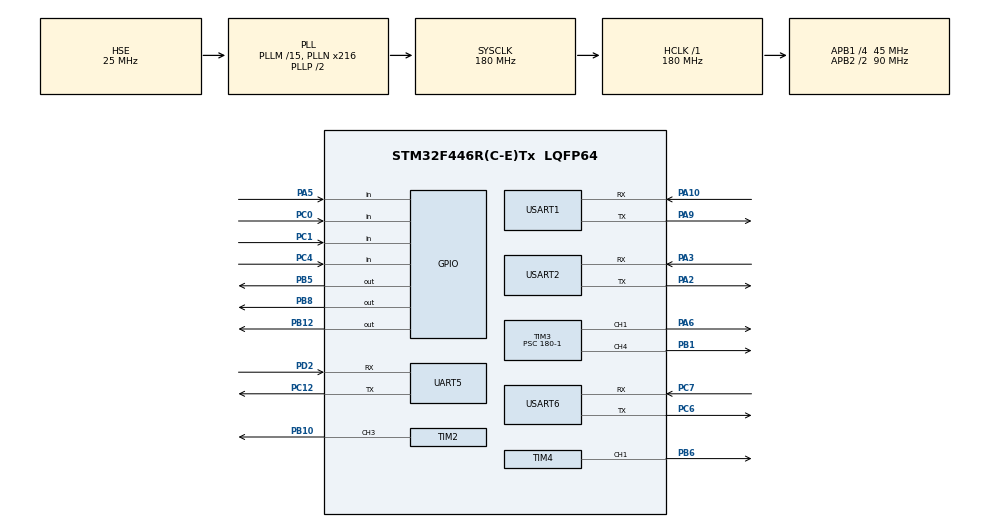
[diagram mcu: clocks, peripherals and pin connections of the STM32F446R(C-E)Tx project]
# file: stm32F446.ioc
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Dma.Request0=USART2_RX
Dma.Request1=UART5_RX
Dma.Request2=USART1_RX
Dma.UART5_RX.1.Direction=DMA_PERIPH_TO_MEMORY
Dma.UART5_RX.1.FIFOMode=DMA_FIFOMODE_DISABLE
Dma.UART5_RX.1.Instance=DMA1_Stream0
Dma.UART5_RX.1.MemDataAlignment=DMA_MDATAALIGN_BYTE
Dma.UART5_RX.1.MemInc=DMA_MINC_ENABLE
Dma.UART5_RX.1.Mode=DMA_CIRCULAR
Dma.UART5_RX.1.PeriphDataAlignment=DMA_PDATAALIGN_BYTE
Dma.UART5_RX.1.PeriphInc=DMA_PINC_DISABLE
Dma.UART5_RX.1.Priority=DMA_PRIORITY_VERY_HIGH
Dma.USART1_RX.2.Direction=DMA_PERIPH_TO_MEMORY
Dma.USART1_RX.2.FIFOMode=DMA_FIFOMODE_DISABLE
Dma.USART1_RX.2.Instance=DMA2_Stream2
Dma.USART1_RX.2.MemDataAlignment=DMA_MDATAALIGN_BYTE
Dma.USART1_RX.2.MemInc=DMA_MINC_ENABLE
Dma.USART1_RX.2.Mode=DMA_CIRCULAR
Dma.USART1_RX.2.PeriphDataAlignment=DMA_PDATAALIGN_BYTE
Dma.USART1_RX.2.PeriphInc=DMA_PINC_DISABLE
Dma.USART1_RX.2.Priority=DMA_PRIORITY_VERY_HIGH
Dma.USART2_RX.0.Direction=DMA_PERIPH_TO_MEMORY
Dma.USART2_RX.0.FIFOMode=DMA_FIFOMODE_DISABLE
Dma.USART2_RX.0.Instance=DMA1_Stream5
Dma.USART2_RX.0.MemDataAlignment=DMA_MDATAALIGN_BYTE
Dma.USART2_RX.0.MemInc=DMA_MINC_ENABLE
Dma.USART2_RX.0.Mode=DMA_CIRCULAR
Dma.USART2_RX.0.PeriphDataAlignment=DMA_PDATAALIGN_BYTE
Dma.USART2_RX.0.PeriphInc=DMA_PINC_DISABLE
Dma.USART2_RX.0.Priority=DMA_PRIORITY_VERY_HIGH
FREERTOS.Tasks01=defaultTask,0,128,StartDefaultTask,Default,NULL,Dynamic,NULL,NULL;vision,0,128,vision_tesk,Default,NULL,Dynamic,NULL,NULL;screen,0,128,screen_tesk,Default,NULL,Dynamic,NULL,NULL;motor_control,0,128,motor_control_tesk,Default,NULL,Dynamic,NULL,NULL
Mcu.Family=STM32F4
Mcu.Name=STM32F446R(C-E)Tx
Mcu.Package=LQFP64
NVIC.DMA1_Stream0_IRQn=true\:5\:0\:false\:false\:true\:true\:false\:true\:true
NVIC.DMA1_Stream5_IRQn=true\:5\:0\:false\:false\:true\:true\:false\:true\:true
NVIC.DMA2_Stream2_IRQn=true\:5\:0\:false\:false\:true\:true\:false\:true\:true
NVIC.PriorityGroup=NVIC_PRIORITYGROUP_4
NVIC.TIM3_IRQn=true\:6\:0\:true\:false\:true\:true\:true\:true\:true
NVIC.TIM8_TRG_COM_TIM14_IRQn=true\:15\:0\:false\:false\:true\:false\:false\:true\:true
NVIC.TimeBase=TIM8_TRG_COM_TIM14_IRQn
NVIC.TimeBaseIP=TIM14
NVIC.UART5_IRQn=true\:6\:0\:true\:false\:true\:true\:true\:true\:true
NVIC.USART1_IRQn=true\:6\:0\:true\:false\:true\:true\:true\:true\:true
NVIC.USART2_IRQn=true\:6\:0\:true\:false\:true\:true\:true\:true\:true
NVIC.USART6_IRQn=true\:7\:0\:true\:false\:true\:true\:true\:true\:true
PA10.Mode=Asynchronous
PA10.Signal=USART1_RX
PA13.Mode=Serial_Wire
PA13.Signal=SYS_JTMS-SWDIO
PA14.Mode=Serial_Wire
PA14.Signal=SYS_JTCK-SWCLK
PA2.Mode=Asynchronous
PA2.Signal=USART2_TX
PA3.Mode=Asynchronous
PA3.Signal=USART2_RX
PA5.GPIO_PuPd=GPIO_PULLUP
PA5.Signal=GPIO_Input
PA6.Signal=S_TIM3_CH1
PA9.Mode=Asynchronous
PA9.Signal=USART1_TX
PB1.Signal=S_TIM3_CH4
PB10.Signal=S_TIM2_CH3
PB12.GPIO_PuPd=GPIO_NOPULL
PB12.Signal=GPIO_Output
PB5.Signal=GPIO_Output
PB6.Signal=S_TIM4_CH1
PB8.Signal=GPIO_Output
PC0.GPIO_PuPd=GPIO_PULLUP
PC0.Signal=GPIO_Input
PC1.GPIO_PuPd=GPIO_PULLUP
PC1.Signal=GPIO_Input
PC12.Mode=Asynchronous
PC12.Signal=UART5_TX
PC4.GPIO_PuPd=GPIO_PULLUP
PC4.Signal=GPIO_Input
PC6.Mode=Asynchronous
PC6.Signal=USART6_TX
PC7.Mode=Asynchronous
PC7.Signal=USART6_RX
PD2.Mode=Asynchronous
PD2.Signal=UART5_RX
PH0-OSC_IN.Mode=HSE-External-Oscillator
PH0-OSC_IN.Signal=RCC_OSC_IN
PH1-OSC_OUT.Mode=HSE-External-Oscillator
PH1-OSC_OUT.Signal=RCC_OSC_OUT
ProjectManager.HeapSize=0x200
ProjectManager.StackSize=0x400
ProjectManager.TargetToolchain=MDK-ARM V5.27
RCC.AHBFreq_Value=180000000
RCC.APB1CLKDivider=RCC_HCLK_DIV4
RCC.APB1Freq_Value=45000000
RCC.APB1TimFreq_Value=90000000
RCC.APB2CLKDivider=RCC_HCLK_DIV2
RCC.APB2Freq_Value=90000000
RCC.APB2TimFreq_Value=180000000
RCC.CortexFreq_Value=180000000
RCC.HCLKFreq_Value=180000000
RCC.HSE_VALUE=25000000
RCC.PLLM=15
RCC.PLLN=216
RCC.PLLQ=5
RCC.PLLSourceVirtual=RCC_PLLSOURCE_HSE
RCC.SYSCLKFreq_VALUE=180000000
RCC.SYSCLKSource=RCC_SYSCLKSOURCE_PLLCLK
RCC.USBFreq_Value=72000000
RCC.VCOOutputFreq_Value=360000000
SH.S_TIM2_CH3.0=TIM2_CH3,PWM Generation3 CH3
SH.S_TIM3_CH1.0=TIM3_CH1,PWM Generation1 CH1
SH.S_TIM3_CH4.0=TIM3_CH4,PWM Generation4 CH4
SH.S_TIM4_CH1.0=TIM4_CH1,PWM Generation1 CH1
TIM2.AutoReloadPreload=TIM_AUTORELOAD_PRELOAD_ENABLE
TIM2.Channel-PWM\ Generation3\ CH3=TIM_CHANNEL_3
TIM2.Period=100-1
TIM2.Prescaler=180-1
TIM2.Pulse-PWM\ Generation3\ CH3=50
TIM3.AutoReloadPreload=TIM_AUTORELOAD_PRELOAD_ENABLE
TIM3.Channel-PWM\ Generation1\ CH1=TIM_CHANNEL_1
TIM3.Channel-PWM\ Generation4\ CH4=TIM_CHANNEL_4
TIM3.Period=40-1
TIM3.Prescaler=180-1
TIM3.Pulse-PWM\ Generation1\ CH1=25
TIM4.AutoReloadPreload=TIM_AUTORELOAD_PRELOAD_ENABLE
TIM4.Channel-PWM\ Generation1\ CH1=TIM_CHANNEL_1
TIM4.Period=100-1
TIM4.Prescaler=180-1
TIM4.Pulse-PWM\ Generation1\ CH1=50
UART5.VirtualMode=Asynchronous
USART1.VirtualMode=VM_ASYNC
USART2.VirtualMode=VM_ASYNC
USART6.VirtualMode=VM_ASYNC
VP_FREERTOS_VS_CMSIS_V1.Mode=CMSIS_V1
VP_SYS_VS_tim14.Mode=TIM14
VP_TIM3_VS_ClockSourceINT.Mode=Internal
board=custom

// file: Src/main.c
/* USER CODE BEGIN Header */
/**
  ******************************************************************************
  * @file           : main.c
  * @brief          : Main program body
  ******************************************************************************
  * @attention
  *
  * Copyright (c) 2023 STMicroelectronics.
  * All rights reserved.
  *
  * This software is licensed under terms that can be found in the LICENSE file
  * in the root directory of this software component.
  * If no LICENSE file comes with this software, it is provided AS-IS.
  *
  ******************************************************************************
  */
/* USER CODE END Header */
#include "main.h"
#include "cmsis_os.h"
#include "dma.h"
#include "tim.h"
#include "usart.h"
#include "gpio.h"

/* USER CODE BEGIN Includes */
#include "motor_control.h"
#include "vision.h"
/* USER CODE END Includes */

/* USER CODE BEGIN PV */
extern uint8_t USART6_Rx_Buf[6];
extern int esp_show;
uint32_t adc_value[1];
/* USER CODE END PV */

void SystemClock_Config(void);
void MX_FREERTOS_Init(void);

/* USER CODE BEGIN 0 */
uint8_t Vision_data[Vision_FRAME_LENGTH];
uint8_t Motor_data[Motor_FRAME_LENGTH];
/* USER CODE END 0 */

int main(void)
{

  /* MCU Configuration--------------------------------------------------------*/

  /* Reset of all peripherals, Initializes the Flash interface and the Systick. */
  HAL_Init();

  /* Configure the system clock */
  SystemClock_Config();

  /* Initialize all configured peripherals */
  MX_GPIO_Init();
  MX_DMA_Init();
  MX_USART1_UART_Init();
  MX_USART2_UART_Init();
  MX_UART5_Init();
  MX_TIM3_Init();
  MX_USART6_UART_Init();
  MX_TIM4_Init();
  MX_TIM2_Init();
  /* USER CODE BEGIN 2 */
  //HAL_UART_Receive_DMA(&huart1,(uint8_t*)&Vision_data[0],Vision_FRAME_LENGTH);
  HAL_UART_Receive_DMA(&huart2,(uint8_t*)&Vision_data[0],Vision_FRAME_LENGTH);
  HAL_UART_Receive_DMA(&huart5,&Motor_data[0],Motor_FRAME_LENGTH);
	HAL_TIM_PWM_Start(&htim3, TIM_CHANNEL_4);
	HAL_TIM_PWM_Start(&htim3, TIM_CHANNEL_1);
	//__HAL_TIM_SetCompare(&htim3, TIM_CHANNEL_1, 25);
	HAL_TIM_PWM_Start(&htim4, TIM_CHANNEL_1);
	HAL_TIM_PWM_Start(&htim2, TIM_CHANNEL_3);
	//__HAL_TIM_SetCompare(&htim4, TIM_CHANNEL_1, 50);

	HAL_GPIO_WritePin(GPIOB,GPIO_PIN_12,GPIO_PIN_SET);
  HAL_GPIO_WritePin(GPIOB,GPIO_PIN_8,GPIO_PIN_RESET);
  HAL_GPIO_WritePin(GPIOB,GPIO_PIN_5,GPIO_PIN_RESET);
	vision_send_1();
	vision_send_2();
  Down_Motor.motor_act=1;
  Down_Motor.motor_target=1;
//	vision_garbage.Type=1;
//	vision_garbage.last_Type=1;
  /* USER CODE END 2 */

  /* Call init function for freertos objects (in freertos.c) */
  MX_FREERTOS_Init();

  /* Start scheduler */
  osKernelStart();
  /* We should never get here as control is now taken by the scheduler */
  /* Infinite loop */
  while (1)
  {

  }
}

void SystemClock_Config(void)
{
  RCC_OscInitTypeDef RCC_OscInitStruct = {0};
  RCC_ClkInitTypeDef RCC_ClkInitStruct = {0};

  /** Configure the main internal regulator output voltage
  */
  __HAL_RCC_PWR_CLK_ENABLE();
  __HAL_PWR_VOLTAGESCALING_CONFIG(PWR_REGULATOR_VOLTAGE_SCALE1);

  /** Initializes the RCC Oscillators according to the specified parameters
  * in the RCC_OscInitTypeDef structure.
  */
  RCC_OscInitStruct.OscillatorType = RCC_OSCILLATORTYPE_HSE;
  RCC_OscInitStruct.HSEState = RCC_HSE_ON;
  RCC_OscInitStruct.PLL.PLLState = RCC_PLL_ON;
  RCC_OscInitStruct.PLL.PLLSource = RCC_PLLSOURCE_HSE;
  RCC_OscInitStruct.PLL.PLLM = 15;
  RCC_OscInitStruct.PLL.PLLN = 216;
  RCC_OscInitStruct.PLL.PLLP = RCC_PLLP_DIV2;
  RCC_OscInitStruct.PLL.PLLQ = 5;
  RCC_OscInitStruct.PLL.PLLR = 2;
  if (HAL_RCC_OscConfig(&RCC_OscInitStruct) != HAL_OK)
  {
    Error_Handler();
  }

  /** Activate the Over-Drive mode
  */
  if (HAL_PWREx_EnableOverDrive() != HAL_OK)
  {
    Error_Handler();
  }

  /** Initializes the CPU, AHB and APB buses clocks
  */
  RCC_ClkInitStruct.ClockType = RCC_CLOCKTYPE_HCLK|RCC_CLOCKTYPE_SYSCLK
                              |RCC_CLOCKTYPE_PCLK1|RCC_CLOCKTYPE_PCLK2;
  RCC_ClkInitStruct.SYSCLKSource = RCC_SYSCLKSOURCE_PLLCLK;
  RCC_ClkInitStruct.AHBCLKDivider = RCC_SYSCLK_DIV1;
  RCC_ClkInitStruct.APB1CLKDivider = RCC_HCLK_DIV4;
  RCC_ClkInitStruct.APB2CLKDivider = RCC_HCLK_DIV2;

  if (HAL_RCC_ClockConfig(&RCC_ClkInitStruct, FLASH_LATENCY_5) != HAL_OK)
  {
    Error_Handler();
  }
}

void HAL_TIM_PeriodElapsedCallback(TIM_HandleTypeDef *htim)
{
  if (htim->Instance == TIM14) {
    HAL_IncTick();
  }
  /* USER CODE BEGIN Callback 1 */
	if(htim->Instance == TIM3)
	{
	}
  /* USER CODE END Callback 1 */
}

void Error_Handler(void)
{
  __disable_irq();
  while (1)
  {
  }
}

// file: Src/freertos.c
/* USER CODE BEGIN Header */
/**
  ******************************************************************************
  * File Name          : freertos.c
  * Description        : Code for freertos applications
  ******************************************************************************
  * @attention
  *
  * Copyright (c) 2023 STMicroelectronics.
  * All rights reserved.
  *
  * This software is licensed under terms that can be found in the LICENSE file
  * in the root directory of this software component.
  * If no LICENSE file comes with this software, it is provided AS-IS.
  *
  ******************************************************************************
  */
/* USER CODE END Header */

#include "FreeRTOS.h"
#include "task.h"
#include "main.h"
#include "cmsis_os.h"

/* USER CODE BEGIN Includes */
#include "motor_control.h"
#include "tim.h"
#include "screen.h"
#include "vision.h"
#include "overload.h"
/* USER CODE END Includes */

/* USER CODE BEGIN PD */
extern uint32_t adc_value[1];
float AD_Value,AD_Value1;
/* USER CODE END PD */

osThreadId defaultTaskHandle;
osThreadId visionHandle;
osThreadId screenHandle;
osThreadId motor_controlHandle;

void StartDefaultTask(void const * argument);
void vision_tesk(void const * argument);
void screen_tesk(void const * argument);
void motor_control_tesk(void const * argument);

void MX_FREERTOS_Init(void); /* (MISRA C 2004 rule 8.1) */

/* GetIdleTaskMemory prototype (linked to static allocation support) */
void vApplicationGetIdleTaskMemory( StaticTask_t **ppxIdleTaskTCBBuffer, StackType_t **ppxIdleTaskStackBuffer, uint32_t *pulIdleTaskStackSize );

/* USER CODE BEGIN GET_IDLE_TASK_MEMORY */
static StaticTask_t xIdleTaskTCBBuffer;
static StackType_t xIdleStack[configMINIMAL_STACK_SIZE];

void vApplicationGetIdleTaskMemory( StaticTask_t **ppxIdleTaskTCBBuffer, StackType_t **ppxIdleTaskStackBuffer, uint32_t *pulIdleTaskStackSize )
{
  *ppxIdleTaskTCBBuffer = &xIdleTaskTCBBuffer;
  *ppxIdleTaskStackBuffer = &xIdleStack[0];
  *pulIdleTaskStackSize = configMINIMAL_STACK_SIZE;
  /* place for user code */
}
/* USER CODE END GET_IDLE_TASK_MEMORY */

void MX_FREERTOS_Init(void) {

  /* Create the thread(s) */
  /* definition and creation of defaultTask */
  osThreadDef(defaultTask, StartDefaultTask, osPriorityNormal, 0, 128);
  defaultTaskHandle = osThreadCreate(osThread(defaultTask), NULL);

  /* definition and creation of vision */
  osThreadDef(vision, vision_tesk, osPriorityNormal, 0, 128);
  visionHandle = osThreadCreate(osThread(vision), NULL);

  /* definition and creation of screen */
  osThreadDef(screen, screen_tesk, osPriorityNormal, 0, 128);
  screenHandle = osThreadCreate(osThread(screen), NULL);

  /* definition and creation of motor_control */
  osThreadDef(motor_control, motor_control_tesk, osPriorityNormal, 0, 128);
  motor_controlHandle = osThreadCreate(osThread(motor_control), NULL);

}

void StartDefaultTask(void const * argument)
{
  /* USER CODE BEGIN StartDefaultTask */
  /* Infinite loop */
  for(;;)
  {
		//vision_send_2();
		//screen_return_movie();
    osDelay(2);
  }
  /* USER CODE END StartDefaultTask */
}

void vision_tesk(void const * argument)
{
  /* USER CODE BEGIN vision_tesk */
  /* Infinite loop */
  for(;;)
  {
    vision_uart_deal();
    //overload_task();

    osDelay(2);
  }
  /* USER CODE END vision_tesk */
}

/* USER CODE BEGIN Header_screen_tesk */
uint32_t vision_send_sign_1=0,vision_2_sign_1=0,vision_1_sign_1=0;
uint8_t vision_last_sign=0;
extern uint8_t up_motor_move_flag;
/**
* @brief Function implementing the screen thread.
* @param argument: Not used
* @retval None
*/
/* USER CODE END Header_screen_tesk */
void screen_tesk(void const * argument)
{
  /* USER CODE BEGIN screen_tesk */
  /* Infinite loop */
  for(;;)
  {
		if(vision_send_sign_1==2) vision_2_sign_1++;
		if(vision_2_sign_1==1)
		{
			vision_1_sign_1=0;
			vision_send_2();
		}

		if(vision_send_sign_1==1) vision_1_sign_1++;
		if(vision_1_sign_1==1)
		{
			vision_send_1();
			vision_2_sign_1=0;
		}

    screen_display_task();
    osDelay(2);
  }
  /* USER CODE END screen_tesk */
}

/* USER CODE BEGIN Header_motor_control_tesk */
uint8_t push_rod_motor_flage=0,Down_motor_flag=0,up_motor_tim_number=0,up_motor_sign_2=0;
uint16_t up_motor_sign_1=0,up_motor_wait_tim=500;
int cnt1,CNT2;//this useed
int cjr226=0,cue151=0;
/**
* @brief Function implementing the motor_control thread.
* @param argument: Not used
* @retval None
*/
/* USER CODE END Header_motor_control_tesk */
void motor_control_tesk(void const * argument)
{
  /* USER CODE BEGIN motor_control_tesk */
  /* Infinite loop */
  for(;;)
  {
    if(up_motor_tim_number==1)
    {
      up_motor_sign_1++;
      if(waste_number.recovery_number%2==1 && vision_garbage.Type==2)
      {
        push_rod_motor_flage=2;
				up_motor_tim_number=0;
      }
      else
      {
        if(up_motor_sign_1==up_motor_wait_tim)
        {
          cjr226++;
          up_motor_sign_2=1;
          up_motor_sign_1=0;
          up_motor_tim_number=0;
        }
      }
    }
    if(up_motor_sign_2==1)
    {
			cue151++;

      UP_motor_move();
    }
    if(Down_motor_flag==1)
    {
      //cnt1++;
      if(Down_Motor.motor_act-Down_Motor.motor_target==2) up_motor_wait_tim=600;
      else
      {
        up_motor_wait_tim=300;
      }
      rotateToPosition(Down_Motor.motor_act,Down_Motor.motor_target);
      //ZDT_X57_Reading_motor_position_error(1);
      up_motor_tim_number=1;
      Down_motor_flag=0;
    }

    if(push_rod_motor_flage==1)
    {
      cnt1++;
      push_rod_motor_in();
      if(cnt1%2600==0)
      {
        push_rod_motor_flage=3;
        up_motor_sign_2=1;
        up_motor_sign_1=0;
        up_motor_tim_number=0;
      }
      //HAL_GPIO_WritePin(GPIOB,GPIO_PIN_8,GPIO_PIN_RESET);
    }
    else if(push_rod_motor_flage==2)
    {
      CNT2++;
      push_rod_motor_push();
      if(CNT2%2600==0) push_rod_motor_flage=1;
      //HAL_GPIO_WritePin(GPIOB,GPIO_PIN_8,GPIO_PIN_SET);
    }
    else if(push_rod_motor_flage==3)
    {
      push_rod_motor_stop();
      //HAL_GPIO_WritePin(GPIOB,GPIO_PIN_8,GPIO_PIN_SET);
    }
    osDelay(2);
  }
  /* USER CODE END motor_control_tesk */
}
